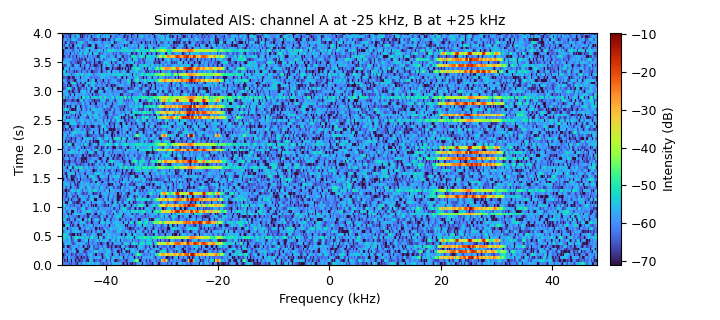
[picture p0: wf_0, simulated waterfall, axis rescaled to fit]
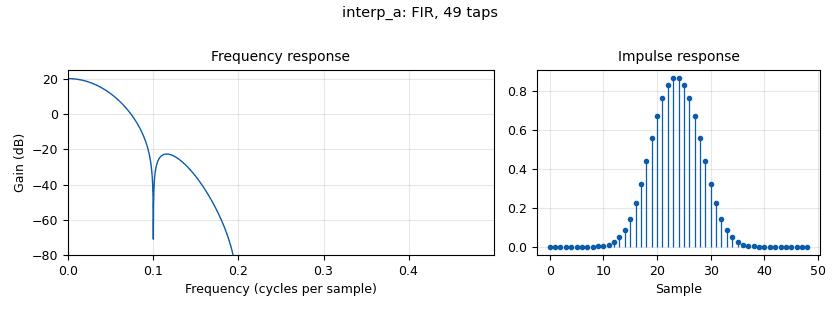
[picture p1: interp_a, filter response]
options:
  parameters:
    author: ECE 448
    description: 'L19: a simulated harbor of four ships sending AIS on channels A (161.975 MHz) and B (162.025 MHz): NRZI levels at 9600 b/s, a Gaussian filter with BT 0.4, and FM with 2.4 kHz deviation, which is GMSK. Writes 4 s at 96 kS/s, centered on 162 MHz, to L19-ais-sim.sigmf-data and .sigmf-meta, labeled Simulated, then stops. Nothing transmits: the last block is a SigMF file sink. Never transmit this signal on 161.975 or 162.025 MHz, which carry AIS, a safety-of-life service; L19-ais-tx-pluto.grc sends it at 915 MHz into a cable instead.'
    generate_options: qt_gui
    id: L19_ais_tx
    output_language: python
    title: L19 - AIS Transmitter (Simulated)
  states: {}

blocks:
- name: baud
  id: variable
  parameters:
    value: '9600'
  states: {}
- name: bt
  id: variable
  parameters:
    value: '0.4'
  states: {}
- name: dev
  id: variable
  parameters:
    value: '2400'
  states: {}
- name: duration
  id: variable
  parameters:
    value: '4'
  states: {}
- name: gtaps
  id: variable
  parameters:
    value: np.convolve(firdes.gaussian(1, sps, bt, 4 * sps), np.ones(sps))
  states: {}
- name: noise_amp
  id: variable_qtgui_range
  parameters:
    gui_hint: 0,0,1,1
    label: Noise amplitude
    start: '0'
    step: '0.01'
    stop: '0.5'
    value: '0.05'
  states: {}
- name: samp_rate
  id: variable
  parameters:
    value: '96000'
  states: {}
- name: sps
  id: variable
  parameters:
    value: int(samp_rate / baud)
  states: {}
- name: add_0
  id: blocks_add_xx
  parameters:
    num_inputs: '3'
    type: complex
  states: {}
- name: epy_block_0
  id: epy_block
  parameters:
    _source_code: |
      """AIS Frames: a simulated harbor of four ships, as AIS bursts on two channels.

      Each burst fills one or two 26.67 ms slots of 256 bits at 9600 b/s:
      8 ramp bits, 24 training bits (0101...), the start flag 0x7E, the message
      and its 16-bit CRC with bit stuffing (a 0 after every five 1s), the end
      flag, and 8 idle bits; the rest of the 256-bit slot is the 24-bit
      buffer. NRZI then turns the bits into levels: a 0 flips
      the level and a 1 keeps it.

      Outputs, one value per bit (9600 a second): channel A's level (+1 or -1,
      0 when idle) and its on/off gate, then channel B's. Ships report their
      position (message 1) about every quarter second, about forty times as often
      as real ones, and their name and voyage (message 5) every two seconds.
      Edit SHIPS to sail your own.

      Never transmit this on 161.975 or 162.025 MHz: they carry AIS, a
      safety-of-life service, and transmitting there is illegal. In this course it
      goes to a SigMF file (L19-ais-tx.grc) or to a PlutoSDR at 915 MHz, into a
      cable through a 30 dB attenuator (L19-ais-tx-pluto.grc)."""

      import numpy as np
      from gnuradio import gr

      SIX = '@ABCDEFGHIJKLMNOPQRSTUVWXYZ[\\]^_ !"#$%&\'()*+,-./0123456789:;<=>?'
      SLOT = 256

      # MMSI, name, callsign, latitude, longitude, speed (kt), course (deg),
      # ship type, length (m), draught (m), destination
      SHIPS = [
          (366944810, 'ECE TRAINER', 'WDE4481', 36.9612, -76.3305, 8.4, 312.0, 52, 32, 3.8, 'NORFOLK'),
          (367120450, 'FALCON SPIRIT', 'WDF1204', 36.9927, -76.2741, 12.1, 205.5, 70, 188, 10.2, 'BALTIMORE'),
          (338204077, 'RAMPART', 'WRP2040', 36.9378, -76.3992, 0.0, 0.0, 31, 24, 3.1, 'PORTSMOUTH'),
          (636019455, 'CAPE TERCEL', 'D5TC9', 37.0185, -76.1874, 15.6, 98.3, 80, 229, 12.4, 'ROTTERDAM'),
      ]


      def bits(v, n):
          v &= (1 << n) - 1
          return [(v >> (n - 1 - i)) & 1 for i in range(n)]


      def text(s, n):
          out = []
          for c in (s + '@' * n)[:n]:
              out += bits(SIX.index(c), 6)
          return out


      def msg1(mmsi, lat, lon, sog, cog, sec):
          return (bits(1, 6) + bits(0, 2) + bits(mmsi, 30) + bits(0 if sog else 5, 4)
                  + bits(-128, 8) + bits(round(sog * 10), 10) + [1]
                  + bits(round(lon * 600000), 28) + bits(round(lat * 600000), 27)
                  + bits(round(cog * 10), 12) + bits(round(cog) % 360 if sog else 511, 9)
                  + bits(sec % 60, 6) + [0] * 25)


      def msg5(mmsi, name, call, stype, length, draught, dest):
          bow = length * 2 // 3
          return (bits(5, 6) + bits(0, 2) + bits(mmsi, 30) + bits(0, 2) + bits(0, 30)
                  + text(call, 7) + text(name, 20) + bits(stype, 8) + bits(bow, 9)
                  + bits(length - bow, 9) + bits(5, 6) + bits(5, 6) + bits(1, 4)
                  + bits(0, 4) + bits(0, 5) + bits(24, 5) + bits(60, 6)
                  + bits(round(draught * 10), 8) + text(dest, 20) + [0, 0])


      def crc16(b):
          """The HDLC check (CRC-16, X.25) over bits in the order they are sent."""
          reg = 0xFFFF
          for x in b:
              reg = (reg >> 1) ^ 0x8408 if (reg ^ x) & 1 else reg >> 1
          return reg ^ 0xFFFF


      def burst(payload, start_level):
          """NRZI levels of one burst. Each byte goes least significant bit first."""
          p = payload + [0] * (-len(payload) % 8)
          data = []
          for i in range(0, len(p), 8):
              data += p[i:i + 8][::-1]
          fcs = crc16(data)
          data += [(fcs >> i) & 1 for i in range(16)]
          stuffed, run = [], 0
          for x in data:
              stuffed.append(x)
              run = run + 1 if x else 0
              if run == 5:
                  stuffed.append(0)
                  run = 0
          flag = [0, 1, 1, 1, 1, 1, 1, 0]
          line = [0] * 8 + [0, 1] * 12 + flag + stuffed + flag + [0] * 8
          level, out = start_level, []
          for x in line:
              if x == 0:
                  level ^= 1
              out.append(level)
          return out


      class blk(gr.sync_block):
          def __init__(self, seed=19):
              gr.sync_block.__init__(self, name='AIS Frames', in_sig=None,
                                     out_sig=[np.float32] * 4)
              self.rng = np.random.default_rng(seed)
              self.queue = []          # (start bit, channel, levels)
              self.slot = 0

          def plan(self, upto):
              """Schedule bursts slot by slot. Each ship owns a slot in every ten."""
              while self.slot * SLOT < upto:
                  s = self.slot
                  for k, (mmsi, name, call, lat, lon, sog, cog, st, ln, dr, dest) in enumerate(SHIPS):
                      if s % 10 != 2 * k + 1:
                          continue
                      t = s * SLOT / 9600
                      d = sog * t / 3600 / 60
                      la = lat + d * np.cos(np.radians(cog))
                      lo = lon + d * np.sin(np.radians(cog)) / np.cos(np.radians(lat))
                      chan = (s // 10 + k) % 2
                      if (s // 10) % 8 == k:
                          p = msg5(mmsi, name, call, st, ln, dr, dest)
                      else:
                          p = msg1(mmsi, la, lo, sog, cog, int(t))
                      lv = burst(p, int(self.rng.integers(2)))
                      self.queue.append((s * SLOT, chan, np.array(lv) * 2.0 - 1))
                  self.slot += 1

          def work(self, input_items, output_items):
              n = len(output_items[0])
              n0 = self.nitems_written(0)
              self.plan(n0 + n + 1)
              for o in output_items:
                  o[:] = 0
              keep = []
              for start, chan, lv in self.queue:
                  a, b = max(start, n0), min(start + len(lv), n0 + n)
                  if a < b:
                      output_items[2 * chan][a - n0:b - n0] = lv[a - start:b - start]
                      output_items[2 * chan + 1][a - n0:b - n0] = 1
                  if start + len(lv) > n0 + n:
                      keep.append((start, chan, lv))
              self.queue = keep
              return n
    seed: '19'
  states: {}
- name: f2c_a
  id: blocks_float_to_complex
  parameters: {}
  states: {}
- name: f2c_b
  id: blocks_float_to_complex
  parameters: {}
  states: {}
- name: fm_a
  id: analog_frequency_modulator_fc
  parameters:
    sensitivity: 2 * np.pi * dev / samp_rate
  states: {}
- name: fm_b
  id: analog_frequency_modulator_fc
  parameters:
    sensitivity: 2 * np.pi * dev / samp_rate
  states: {}
- name: head_0
  id: blocks_head
  parameters:
    num_items: int(duration * samp_rate)
    type: complex
  states: {}
- name: import_0
  id: import
  parameters:
    imports: import numpy as np
  states: {}
- name: interp_a
  id: interp_fir_filter_xxx
  parameters:
    interp: sps
    taps: gtaps
    type: fff
  states: {}
- name: interp_b
  id: interp_fir_filter_xxx
  parameters:
    interp: sps
    taps: gtaps
    type: fff
  states: {}
- name: lo_a
  id: analog_sig_source_x
  parameters:
    amp: '1'
    freq: '-25e3'
    offset: '0'
    phase: '0'
    samp_rate: samp_rate
    type: complex
    waveform: analog.GR_COS_WAVE
  states: {}
- name: lo_b
  id: analog_sig_source_x
  parameters:
    amp: '1'
    freq: 25e3
    offset: '0'
    phase: '0'
    samp_rate: samp_rate
    type: complex
    waveform: analog.GR_COS_WAVE
  states: {}
- name: mul_a
  id: blocks_multiply_xx
  parameters:
    num_inputs: '3'
    type: complex
  states: {}
- name: mul_b
  id: blocks_multiply_xx
  parameters:
    num_inputs: '3'
    type: complex
  states: {}
- name: noise_0
  id: analog_noise_source_x
  parameters:
    amp: noise_amp
    noise_type: analog.GR_GAUSSIAN
    seed: '162'
    type: complex
  states: {}
- name: rep_a
  id: blocks_repeat
  parameters:
    interp: sps
    type: float
  states: {}
- name: rep_b
  id: blocks_repeat
  parameters:
    interp: sps
    type: float
  states: {}
- name: sigmf_0
  id: blocks_sigmf_sink_minimal
  parameters:
    author: '''ECE 448'''
    center_freq: 162e6
    description: '''Simulated AIS: four ships from L19-ais-tx.grc, not a real capture'''
    filename: '''L19-ais-sim.sigmf-data'''
    hw_info: '''L19-ais-tx.grc'''
    sample_rate: samp_rate
    type: complex float (fc32_le)
  states: {}
- name: throttle_0
  id: blocks_throttle2
  parameters:
    samples_per_second: samp_rate
    type: complex
  states: {}
- name: wf_0
  id: qtgui_waterfall_sink_x
  parameters:
    bw: samp_rate
    fc: '0'
    fftsize: '512'
    gui_hint: 1,0,1,1
    int_max: '-20'
    int_min: '-75'
    legend: 'False'
    name: '"Simulated AIS: channel A at -25 kHz, B at +25 kHz"'
    type: complex
    update_time: '0.05'
  states: {}

connections:
- [add_0, '0', throttle_0, '0']
- [epy_block_0, '0', interp_a, '0']
- [epy_block_0, '1', rep_a, '0']
- [epy_block_0, '2', interp_b, '0']
- [epy_block_0, '3', rep_b, '0']
- [f2c_a, '0', mul_a, '1']
- [f2c_b, '0', mul_b, '1']
- [fm_a, '0', mul_a, '0']
- [fm_b, '0', mul_b, '0']
- [head_0, '0', sigmf_0, '0']
- [head_0, '0', wf_0, '0']
- [interp_a, '0', fm_a, '0']
- [interp_b, '0', fm_b, '0']
- [lo_a, '0', mul_a, '2']
- [lo_b, '0', mul_b, '2']
- [mul_a, '0', add_0, '0']
- [mul_b, '0', add_0, '1']
- [noise_0, '0', add_0, '2']
- [rep_a, '0', f2c_a, '0']
- [rep_b, '0', f2c_b, '0']
- [throttle_0, '0', head_0, '0']

metadata:
  file_format: 1
  grc_version: 3.10.9.2
